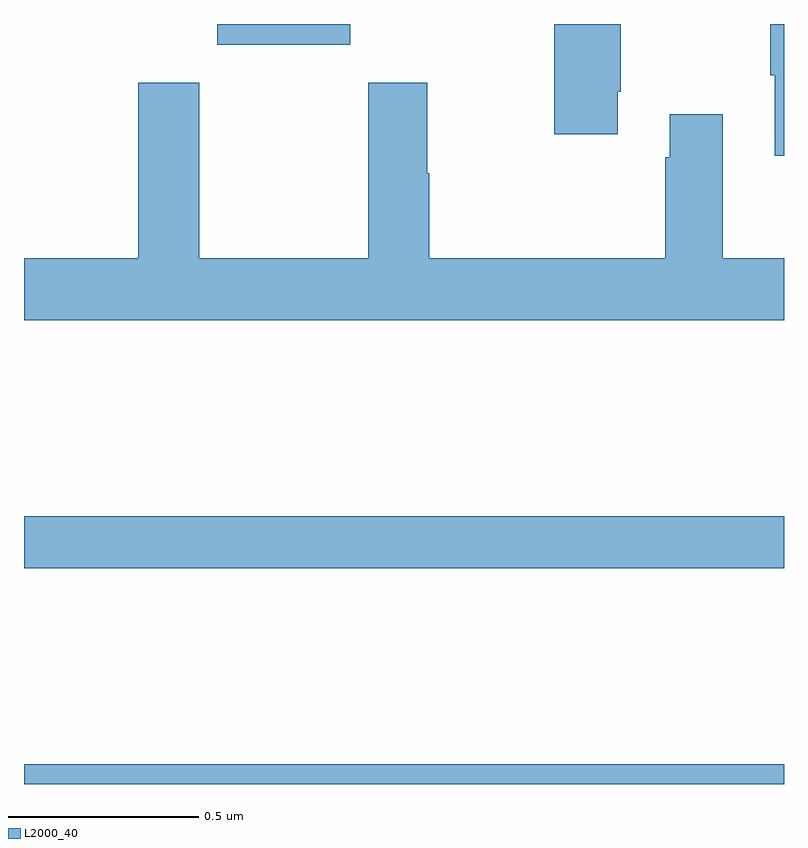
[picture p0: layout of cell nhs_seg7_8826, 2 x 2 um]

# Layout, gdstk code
import gdstk
lib = gdstk.Library(unit=1e-6, precision=1e-09)
def R(c, l, rs):  # rectangles x0, y0, x1, y1
    for r in rs: c.add(gdstk.rectangle(r[:2], r[2:], *l))
def P(c, l, *ps):  # polygons
    for p in ps: c.add(gdstk.Polygon(p, *l))
L2000_40 = (2000, 40)

nhs_seg7_8826 = lib.new_cell('nhs_seg7_8826')
R(nhs_seg7_8826, L2000_40, [(229,1062,231,1062.052), (229,1062.568,231,1062.704), (229.508,1063.946,229.858,1064)])
P(nhs_seg7_8826, L2000_40, [(231,1064),(230.964,1064),(230.964,1063.865),(230.975,1063.865),(230.975,1063.653),(231,1063.653)],
  [(230.563,1063.822),(230.571,1063.822),(230.571,1064),(230.396,1064),(230.396,1063.71),(230.563,1063.71)],
  [(231,1063.384),(230.839,1063.384),(230.839,1063.762),(230.699,1063.762),(230.699,1063.649),(230.687,1063.649),(230.687,1063.384),(230.066,1063.384),(230.066,1063.607),(230.061,1063.607),(230.061,1063.846),(229.906,1063.846),(229.906,1063.384),(229.461,1063.384),(229.461,1063.846),(229.301,1063.846),(229.301,1063.384),(229,1063.384),(229,1063.22),(231,1063.22)])

lib.write_gds('nhs_seg7_8826.gds')
